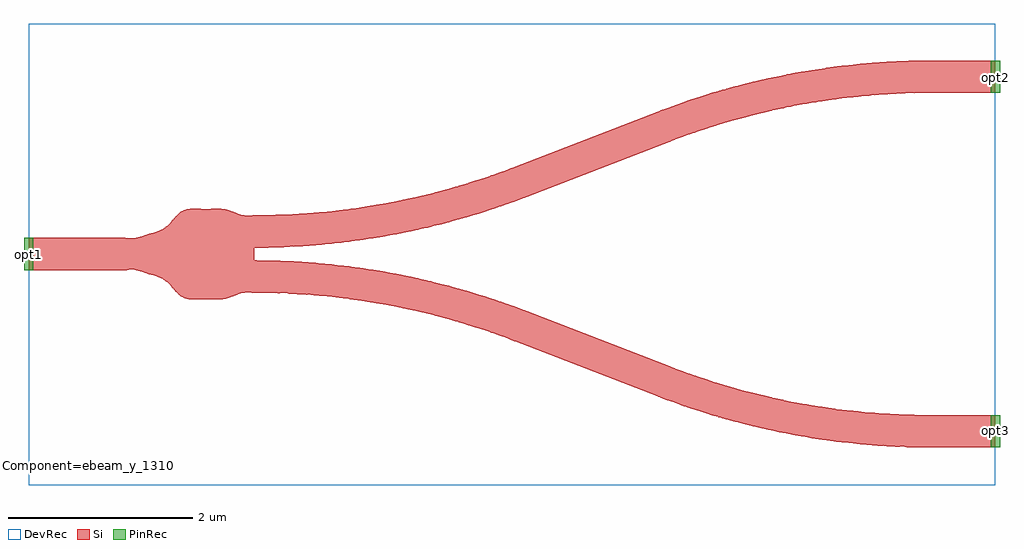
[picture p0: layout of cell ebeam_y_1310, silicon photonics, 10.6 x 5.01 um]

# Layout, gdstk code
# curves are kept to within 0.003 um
import gdstk
lib = gdstk.Library(unit=1e-6, precision=1e-09)
def R(c, l, rs):  # rectangles x0, y0, x1, y1
    for r in rs: c.add(gdstk.rectangle(r[:2], r[2:], *l))
def P(c, l, *ps):  # polygons
    for p in ps: c.add(gdstk.Polygon(p, *l))
Si = (1, 0)
PinRec = (1, 10)
DevRec = (68, 0)

ebeam_y_1310 = lib.new_cell('ebeam_y_1310')
P(ebeam_y_1310, Si, [(-4.771,0.072),(-4.771,0.422),(-4.457,0.435),(-4.158,0.46),(-3.871,0.494),(-3.685,0.522),(-3.428,0.568),(-3.059,0.65),(-2.833,0.71),(-2.683,0.753),(-2.408,0.841),(-2.161,0.93),(-2.161,0.557),(-2.334,0.497),(-2.642,0.4),(-2.913,0.326),(-3.159,0.267),(-3.556,0.189),(-3.817,0.148),(-4.106,0.113),(-4.403,0.088)],
  [(-7.4,0.07),(-7.4,0.175),(-6.256,0.172),(-6.222,0.177),(-5.994,0.247),(-5.94,0.272),(-5.896,0.303),(-5.76,0.447),(-5.713,0.475),(-5.661,0.489),(-5.306,0.491),(-5.247,0.48),(-5.094,0.426),(-5.063,0.419),(-4.771,0.422),(-4.771,0.072)],
  [(-2.161,0.557),(-2.161,0.93),(-0.406,1.607),(-0.146,1.696),(0.092,1.77),(0.45,1.866),(0.834,1.95),(1.218,2.015),(1.51,2.052),(1.765,2.076),(2.159,2.097),(3.1,2.1),(3.1,1.75),(2.248,1.749),(1.834,1.73),(1.554,1.705),(1.321,1.676),(1.028,1.63),(0.701,1.565),(0.509,1.52),(0.256,1.453),(0.002,1.376),(-0.256,1.289)],
  [(2.371,-2.1),(2.028,-2.092),(1.705,-2.071),(1.373,-2.036),(1.035,-1.986),(0.618,-1.905),(0.363,-1.844),(0.021,-1.749),(-0.282,-1.651),(-0.532,-1.56),(-2.161,-0.93),(-2.161,-0.557),(-0.256,-1.289),(0.147,-1.421),(0.462,-1.508),(0.679,-1.56),(1.028,-1.63),(1.321,-1.676),(1.608,-1.71),(1.834,-1.73),(2.248,-1.749),(3.1,-1.75),(3.1,-2.1)],
  [(-2.161,-0.93),(-2.408,-0.841),(-2.735,-0.738),(-3.059,-0.65),(-3.428,-0.568),(-3.703,-0.519),(-4.104,-0.465),(-4.457,-0.435),(-4.771,-0.422),(-4.771,-0.072),(-4.403,-0.088),(-4.106,-0.113),(-3.802,-0.15),(-3.556,-0.189),(-3.246,-0.248),(-3,-0.304),(-2.683,-0.388),(-2.334,-0.497),(-2.161,-0.557)],
  [(-5.62,-0.492),(-5.693,-0.482),(-5.745,-0.458),(-5.793,-0.416),(-5.896,-0.303),(-5.945,-0.269),(-5.994,-0.247),(-6.216,-0.178),(-6.268,-0.171),(-6.349,-0.175),(-7.4,-0.175),(-7.4,0.07),(-4.95,0.07),(-4.95,-0.07),(-4.771,-0.072),(-4.771,-0.422),(-5.036,-0.416),(-5.094,-0.426),(-5.221,-0.472),(-5.29,-0.489)])
R(ebeam_y_1310, DevRec, [(-7.4,-2.51,3.1,2.5)])
ebeam_y_1310.add(gdstk.FlexPath([(-7.35,0),(-7.45,0)], 0.35, ends="flush", simple_path=True, layer=1, datatype=10))  # PinRec
ebeam_y_1310.add(gdstk.FlexPath([(3.05,-1.925),(3.15,-1.925)], 0.35, ends="flush", simple_path=True, layer=1, datatype=10))  # PinRec
ebeam_y_1310.add(gdstk.FlexPath([(3.05,1.925),(3.15,1.925)], 0.35, ends="flush", simple_path=True, layer=1, datatype=10))  # PinRec
ebeam_y_1310.add(gdstk.Label('opt2', (3.1,1.92), layer=1, texttype=10))
ebeam_y_1310.add(gdstk.Label('opt3', (3.1,-1.92), layer=1, texttype=10))
ebeam_y_1310.add(gdstk.Label('opt1', (-7.4,0), layer=1, texttype=10))
ebeam_y_1310.add(gdstk.Label('Component=ebeam_y_1310', (-7.19,-2.3), layer=68, texttype=0))

lib.write_gds('ebeam_y_1310.gds')
